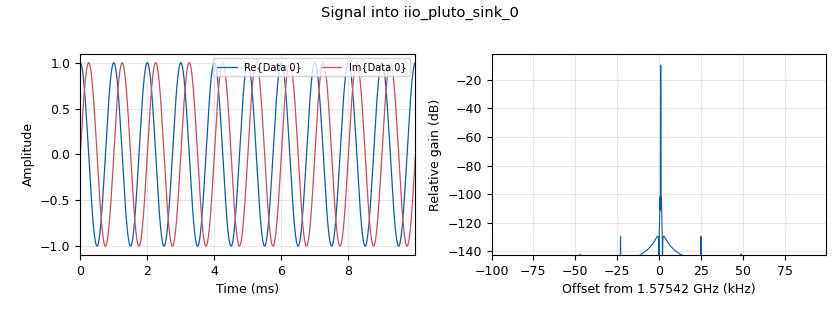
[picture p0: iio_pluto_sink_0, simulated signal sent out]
options:
  parameters:
    generate_options: qt_gui
    id: plutosdr
    output_language: python
    title: Not titled yet
  states: {}

blocks:
- name: df
  id: variable_qtgui_range
  parameters:
    start: '-2e6'
    step: '1'
    stop: 2e6
    value: '50'
  states: {}
- name: samp_rate
  id: variable
  parameters:
    value: '200000'
  states: {}
- name: analog_sig_source_x_0
  id: analog_sig_source_x
  parameters:
    amp: '1'
    freq: '1000'
    offset: '0'
    phase: '0'
    samp_rate: samp_rate
    type: complex
    waveform: analog.GR_COS_WAVE
  states: {}
- name: iio_pluto_sink_0
  id: iio_pluto_sink
  parameters:
    attenuation1: '80'
    bandwidth: '20000000'
    buffer_size: '32768'
    cyclic: 'False'
    filter_source: '''Auto'''
    frequency: 1575420000+df
    samplerate: samp_rate
    type: fc32
  states: {}

connections:
- [analog_sig_source_x_0, '0', iio_pluto_sink_0, '0']

metadata:
  file_format: 1
  grc_version: 3.10.11.0
